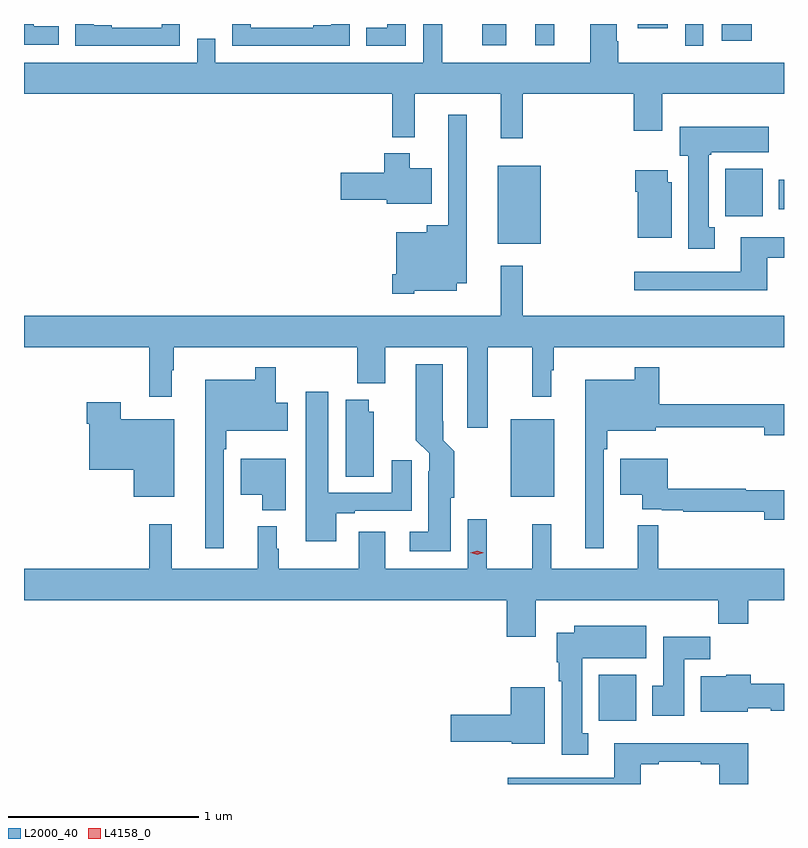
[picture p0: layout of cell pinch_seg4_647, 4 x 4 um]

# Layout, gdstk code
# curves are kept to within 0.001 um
import gdstk
lib = gdstk.Library(unit=1e-6, precision=1e-09)
def R(c, l, rs):  # rectangles x0, y0, x1, y1
    for r in rs: c.add(gdstk.rectangle(r[:2], r[2:], *l))
def P(c, l, *ps):  # polygons
    for p in ps: c.add(gdstk.Polygon(p, *l))
L2000_40 = (2000, 40)
L4158_0 = (4158, 0)

pinch_seg4_647 = lib.new_cell('pinch_seg4_647')
R(pinch_seg4_647, L2000_40, [(1050.254,752.228,1050.451,752.47), (1049.792,753.407,1050.019,753.817), (1049.723,754.739,1049.95,755.149), (1050.921,754.884,1051.117,755.134), (1051.202,754.92,1051.229,755.076), (1050.708,755.781,1050.804,755.896), (1049.642,755.784,1049.766,755.896), (1049.921,755.784,1050.02,755.896), (1050.902,755.808,1051.06,755.896), (1050.458,755.874,1050.616,755.896)])
P(pinch_seg4_647, L2000_40, [(1049.855,755.528),(1050.437,755.528),(1050.437,755.334),(1050.589,755.334),(1050.589,755.528),(1051.229,755.528),(1051.229,755.692),(1050.357,755.692),(1050.357,755.804),(1050.349,755.804),(1050.349,755.896),(1050.209,755.896),(1050.209,755.692),(1049.429,755.692),(1049.429,755.896),(1049.331,755.896),(1049.331,755.692),(1048.236,755.692),(1048.236,755.819),(1048.14,755.819),(1048.14,755.692),(1047.229,755.692),(1047.229,755.528),(1049.167,755.528),(1049.167,755.3),(1049.285,755.3),(1049.285,755.528),(1049.738,755.528),(1049.738,755.295),(1049.855,755.295)],
  [(1049.238,755.896),(1049.142,755.896),(1049.142,755.877),(1049.029,755.877),(1049.029,755.781),(1049.238,755.781)],
  [(1047.413,755.884),(1047.279,755.884),(1047.279,755.896),(1047.229,755.896),(1047.229,755.787),(1047.413,755.787)],
  [(1048.944,755.896),(1048.847,755.896),(1048.847,755.89),(1048.751,755.89),(1048.751,755.877),(1048.422,755.877),(1048.422,755.896),(1048.326,755.896),(1048.326,755.781),(1048.944,755.781)],
  [(1048.05,755.896),(1047.954,755.896),(1047.954,755.877),(1047.691,755.877),(1047.691,755.89),(1047.595,755.89),(1047.595,755.896),(1047.498,755.896),(1047.498,755.781),(1048.05,755.781)],
  [(1049.283,754.493),(1049.506,754.493),(1049.506,754.532),(1049.56,754.532),(1049.56,755.419),(1049.463,755.419),(1049.463,754.837),(1049.348,754.837),(1049.348,754.801),(1049.189,754.801),(1049.189,754.579),(1049.168,754.579),(1049.168,754.475),(1049.283,754.475)],
  [(1050.865,754.825),(1050.832,754.825),(1050.832,755.209),(1050.846,755.209),(1050.846,755.222),(1051.15,755.222),(1051.15,755.356),(1050.68,755.356),(1050.68,755.202),(1050.725,755.202),(1050.725,754.713),(1050.865,754.713)],
  [(1049.374,755.137),(1049.26,755.137),(1049.26,755.215),(1049.126,755.215),(1049.126,755.112),(1048.896,755.112),(1048.896,754.97),(1049.138,754.97),(1049.138,754.949),(1049.374,754.949)],
  [(1050.637,755.064),(1050.616,755.064),(1050.616,755.125),(1050.446,755.125),(1050.446,755.012),(1050.458,755.012),(1050.458,754.772),(1050.637,754.772)],
  [(1051.141,754.665),(1051.229,754.665),(1051.229,754.774),(1051.001,754.774),(1051.001,754.593),(1050.441,754.593),(1050.441,754.496),(1051.141,754.496)],
  [(1049.671,754.196),(1049.905,754.196),(1049.905,753.933),(1050.004,753.933),(1050.004,754.073),(1050.016,754.073),(1050.016,754.196),(1051.229,754.196),(1051.229,754.36),(1049.855,754.36),(1049.855,754.624),(1049.737,754.624),(1049.737,754.36),(1047.229,754.36),(1047.229,754.196),(1047.889,754.196),(1047.889,753.933),(1048.006,753.933),(1048.006,754.073),(1048.018,754.073),(1048.018,754.196),(1048.984,754.196),(1048.984,754.004),(1049.131,754.004),(1049.131,754.196),(1049.561,754.196),(1049.561,753.771),(1049.671,753.771)],
  [(1049.476,753.402),(1049.494,753.402),(1049.494,753.647),(1049.435,753.706),(1049.434,754.105),(1049.291,754.105),(1049.291,753.706),(1049.361,753.636),(1049.361,753.542),(1049.357,753.542),(1049.357,753.223),(1049.259,753.223),(1049.259,753.122),(1049.476,753.122)],
  [(1050.279,753.659),(1050.299,753.659),(1050.299,753.755),(1050.553,753.755),(1050.553,753.774),(1051.124,753.774),(1051.124,753.731),(1051.229,753.731),(1051.229,753.895),(1050.572,753.895),(1050.572,754.09),(1050.444,754.09),(1050.444,754.024),(1050.182,754.024),(1050.182,753.138),(1050.279,753.138)],
  [(1048.281,753.659),(1048.294,753.659),(1048.294,753.755),(1048.618,753.755),(1048.618,753.903),(1048.555,753.903),(1048.555,754.09),(1048.446,754.09),(1048.446,754.024),(1048.184,754.024),(1048.184,753.138),(1048.281,753.138)],
  [(1048.873,753.321),(1048.969,753.321),(1048.969,753.333),(1049.269,753.333),(1049.269,753.601),(1049.165,753.601),(1049.165,753.429),(1048.831,753.429),(1048.831,753.961),(1048.712,753.961),(1048.712,753.174),(1048.873,753.174)],
  [(1049.071,753.855),(1049.044,753.855),(1049.044,753.919),(1048.922,753.919),(1048.922,753.514),(1049.071,753.514)],
  [(1048.021,753.817),(1047.738,753.817),(1047.738,753.904),(1047.56,753.904),(1047.56,753.791),(1047.572,753.791),(1047.572,753.551),(1047.806,753.551),(1047.806,753.407),(1048.021,753.407)],
  [(1051.229,753.443),(1051.028,753.443),(1051.028,753.451),(1050.617,753.451),(1050.617,753.607),(1050.368,753.607),(1050.368,753.419),(1050.482,753.419),(1050.482,753.342),(1050.586,753.342),(1050.586,753.336),(1050.7,753.336),(1050.7,753.33),(1051.124,753.33),(1051.124,753.287),(1051.229,753.287)],
  [(1048.606,753.607),(1048.37,753.607),(1048.37,753.419),(1048.484,753.419),(1048.484,753.338),(1048.606,753.338)],
  [(1049.923,752.864),(1050.883,752.864),(1050.883,752.74),(1051.04,752.74),(1051.04,752.864),(1051.229,752.864),(1051.229,753.028),(1050.566,753.028),(1050.566,753.257),(1050.458,753.257),(1050.458,753.028),(1050.005,753.028),(1050.005,753.262),(1049.905,753.262),(1049.905,753.028),(1049.664,753.028),(1049.664,753.289),(1049.565,753.289),(1049.565,753.028),(1049.131,753.028),(1049.131,753.223),(1048.991,753.223),(1048.991,753.028),(1048.57,753.028),(1048.57,753.135),(1048.558,753.135),(1048.558,753.253),(1048.46,753.253),(1048.46,753.028),(1048.007,753.028),(1048.007,753.262),(1047.889,753.262),(1047.889,753.028),(1047.229,753.028),(1047.229,752.864),(1049.771,752.864),(1049.771,752.67),(1049.923,752.67)],
  [(1050.199,752.162),(1050.166,752.162),(1050.166,752.558),(1050.505,752.558),(1050.505,752.728),(1050.125,752.728),(1050.125,752.692),(1050.032,752.692),(1050.032,752.538),(1050.044,752.538),(1050.044,752.438),(1050.059,752.438),(1050.059,752.049),(1050.199,752.049)],
  [(1050.703,752.552),(1050.842,752.552),(1050.842,752.67),(1050.593,752.67),(1050.593,752.412),(1050.536,752.412),(1050.536,752.256),(1050.703,752.256)],
  [(1051.038,752.294),(1051.158,752.294),(1051.158,752.282),(1051.229,752.282),(1051.229,752.424),(1051.055,752.424),(1051.055,752.47),(1050.924,752.47),(1050.924,752.464),(1050.791,752.464),(1050.791,752.276),(1051.038,752.276)],
  [(1049.971,752.404),(1049.792,752.404),(1049.792,752.261),(1049.475,752.261),(1049.475,752.119),(1049.796,752.119),(1049.796,752.108),(1049.971,752.108)],
  [(1050.475,752.001),(1050.571,752.001),(1050.571,752.013),(1050.791,752.013),(1050.791,752.001),(1050.887,752.001),(1050.887,751.896),(1051.04,751.896),(1051.04,752.11),(1050.335,752.11),(1050.335,751.929),(1049.775,751.929),(1049.775,751.896),(1050.475,751.896)])
P(pinch_seg4_647, L4158_0, [(1049.614,753.103),(1049.578,753.113),(1049.577,753.113),(1049.578,753.113),(1049.614,753.123),(1049.65,753.113),(1049.65,753.113),(1049.65,753.113)])

lib.write_gds('pinch_seg4_647.gds')
